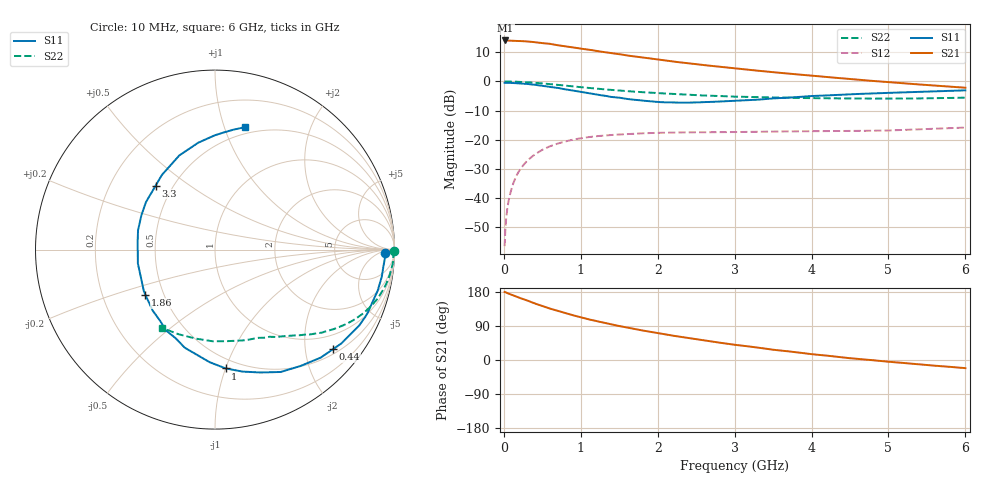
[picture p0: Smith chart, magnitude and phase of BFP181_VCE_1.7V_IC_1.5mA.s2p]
! Infineon Technologies  Discrete & RF Semiconductors
! BFP181
! VCE = 1.7 V,  IC =  1.5 mA
! Common Emitter S-Parameters:  Jan 2016
# GHz  S  MA  R  50
!  f  S11  S21  S12  S22
! GHz  MAG  ANG  MAG  ANG  MAG  ANG  MAG  ANG
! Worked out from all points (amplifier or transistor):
!   210 points, 10 MHz to 6 GHz, reference 50 ohm
!   highest |S21| = 14.0 dB at 20 MHz (marker M1)
!   |S21| within 3 dB of that: start of sweep to 1.06 GHz
!   unconditionally stable (mu >= 1): 2.611 GHz to end of sweep
!   at 185 MHz: K = 0.09, MSG = 22.6 dB, |S12| = -31.3 dB
!   at 1.52 GHz: K = 0.63, MSG = 13.7 dB, |S12| = -18.2 dB
!   at 6 GHz: K = 1.20, MAG = 4.1 dB, |S12| = -15.8 dB
!   S11 on the Smith chart (normalised r, x): 10 MHz: 31, -12; 440 MHz: 0.61, -2.61; 1 GHz: 0.42, -1.00; 1.86 GHz: 0.40, -0.25; 3.3 GHz: 0.40, +0.38; 6 GHz: 0.44, +1.18
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0.01  0.945 -1.2  5.008 179.4  0.0015 87.7  0.9969 -0.4
0.02  0.9497 -2.0  5.03 179.0  0.0029 81.9  0.9954 -0.9
0.035  0.9469 -3.2  5.017 177.6  0.0051 86.8  0.9948 -1.5
0.06  0.9433 -5.4  4.994 175.3  0.0087 87.3  0.9941 -2.5
0.15  0.9349 -14.2  4.936 168.4  0.0222 81.0  0.9888 -6.4
0.3  0.9078 -27.8  4.855 157.4  0.0431 72.7  0.9674 -12.6
0.44  0.8605 -40.1  4.63 146.6  0.0602 65.1  0.9385 -17.8
0.6  0.8043 -53.8  4.403 135.7  0.0773 57.3  0.8988 -23.3
0.8  0.73 -69.7  4.012 123.6  0.0935 48.8  0.8454 -29.1
1  0.6645 -84.9  3.643 112.7  0.1059 41.5  0.7962 -33.8
1.02  0.6563 -86.4  3.615 111.7  0.1069 40.9  0.7915 -34.2
1.2  0.5959 -99.6  3.334 102.9  0.1149 35.4  0.7535 -37.9
1.42  0.5371 -115.3  3.017 93.1  0.1214 30.3  0.7101 -41.7
1.6  0.5009 -127.6  2.785 85.8  0.1254 26.9  0.6818 -44.2
1.86  0.4623 -146.9  2.515 75.9  0.1297 22.6  0.6456 -47.9
2.02  0.4424 -158.2  2.356 70.4  0.1315 20.5  0.6278 -50.0
2.42  0.4324 176.1  2.034 57.3  0.134 15.9  0.5902 -55.6
3.1  0.4707 141.2  1.626 37.9  0.136 11.2  0.5439 -65.4
3.3  0.486 132.9  1.526 32.8  0.1372 10.3  0.537 -68.5
4.1  0.5676 108.2  1.222 13.5  0.1399 7.4  0.5141 -83.2
5.1  0.6424 88.6  0.948 -6.2  0.1458 6.5  0.507 -104.4
6  0.7022 76.3  0.779 -21.5  0.1618 5.7  0.5272 -124.3
